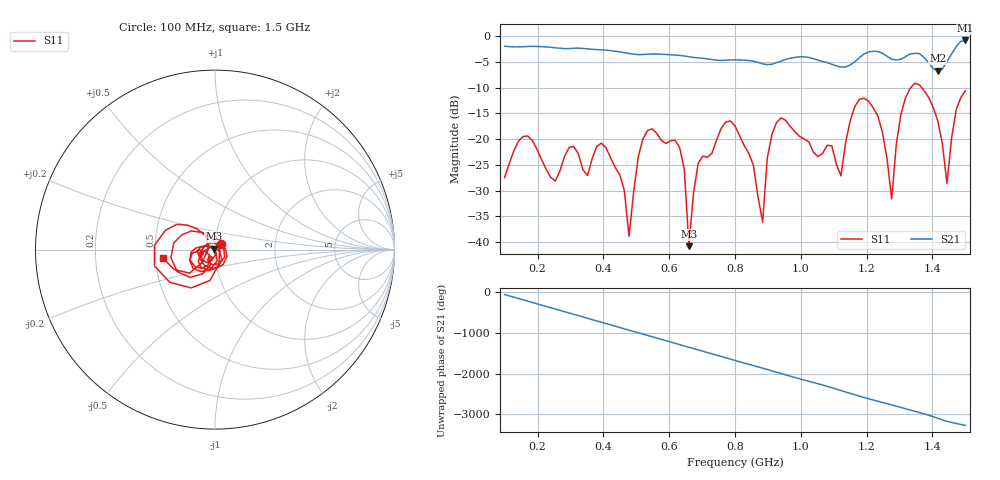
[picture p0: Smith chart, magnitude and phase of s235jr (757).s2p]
! NanoVNA-App
! Date: 2025-09-25 15:10:04
! Start: 100MHz Stop: 1,5GHz Points: 101
! S-Parameter data: F S11 S21 S12 S22
# Hz S RI R 50
!  Frequency  S11_Real  S11_Imag  S21_Real  S21_Imag  S12_Real  S12_Imag  S22_Real  S22_Imag
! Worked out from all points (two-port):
!   101 points, 100 MHz to 1.5 GHz, reference 50 ohm
!   highest |S21| = -0.84 dB at 1.5 GHz (marker M1); lowest = -6.7 dB at 1.416 GHz (marker M2)
!   |S21| within 3 dB of the highest: start of sweep to 643.8 MHz; 1.184 GHz to 1.26 GHz (75.73 MHz wide, 6.2 % of centre) (the widest 2 of 4)
!   lowest |S11| = -40.8 dB at 660 MHz (marker M3), VSWR 1.02, Z = 49.3 + j0.583 ohm
!   |S11| at or under -10 dB: start of sweep to 1.334 GHz; 1.367 GHz to end of sweep
!   S12 and S22 are empty: the file has one direction only
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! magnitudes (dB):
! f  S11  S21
! 100 MHz  -27.5  -2.0
! 170 MHz  -19.4  -2.0
! 338 MHz  -26.0  -2.4
! 408 MHz  -21.7  -2.7
! 478 MHz  -38.9  -3.4
! 520 MHz  -20.0  -3.6
! 576 MHz  -20.2  -3.5
! 632 MHz  -21.7  -3.7
! 660 MHz  -40.8  -4.0
! 688 MHz  -24.7  -4.2
! 800 MHz  -17.4  -4.6
! 884 MHz  -36.1  -5.4
! 926 MHz  -16.8  -5.1
! 1.038 GHz  -22.5  -4.4
! 1.122 GHz  -27.1  -6.0
! 1.192 GHz  -12.1  -3.5
! 1.248 GHz  -18.7  -3.3
! 1.276 GHz  -31.6  -4.5
! 1.332 GHz  -10.1  -3.5
! 1.416 GHz  -16.4  -6.7
! 1.444 GHz  -28.6  -4.9
! 1.5 GHz  -10.6  -0.8
